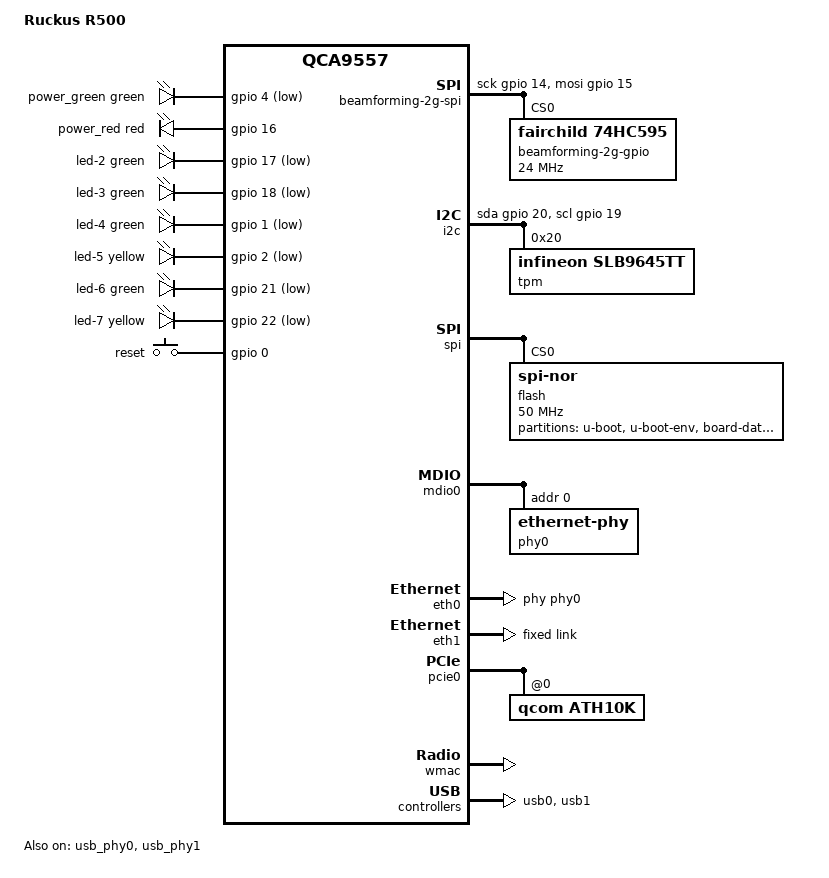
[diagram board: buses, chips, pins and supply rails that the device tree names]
// SPDX-License-Identifier: GPL-2.0-or-later OR MIT

#include "qca955x.dtsi"

#include <dt-bindings/gpio/gpio.h>
#include <dt-bindings/input/input.h>
#include <dt-bindings/leds/common.h>
#include <dt-bindings/mtd/partitions/uimage.h>

/ {
	compatible = "ruckus,r500", "qca,qca9557";
	model = "Ruckus R500";

	aliases {
		led-boot = &power_green;
		led-failsafe = &power_red;
		led-running = &power_green;
		led-upgrade = &power_red;
	};

	chosen {
		bootargs = "console=ttyS0,115200n8";
	};

	leds {
		compatible = "gpio-leds";

		pinctrl-names = "default";
		pinctrl-0 = <&jtag_disable_pins &clks_disable_pins &enable_gpio_4>;

		power_green: led-0 {
			function = LED_FUNCTION_POWER;
			color = <LED_COLOR_ID_GREEN>;
			gpios = <&gpio 4 GPIO_ACTIVE_LOW>;
			default-state = "on";
		};

		power_red: led-1 {
			function = LED_FUNCTION_POWER;
			color = <LED_COLOR_ID_RED>;
			gpios = <&gpio 16 GPIO_ACTIVE_HIGH>;
			default-state = "off";
			panic-indicator;
		};

		// DIR (Zone Director) LED - Indicates Zone director connection status
		led-2 {
			color = <LED_COLOR_ID_GREEN>;
			function = "dir";
			gpios = <&gpio 17 GPIO_ACTIVE_LOW>;
		};

		// AIR (Signal/Air Quality) LED - Indicates uplink status and the quality of the wireless signal to the uplink AP
		led-3 {
			color = <LED_COLOR_ID_GREEN>;
			function = "air";
			gpios = <&gpio 18 GPIO_ACTIVE_LOW>;
		};

		led-4 {
			color = <LED_COLOR_ID_GREEN>;
			function = LED_FUNCTION_WLAN_2GHZ;
			gpios = <&gpio 1 GPIO_ACTIVE_LOW>;
			linux,default-trigger = "phy1assoc";
		};

		led-5 {
			color = <LED_COLOR_ID_YELLOW>;
			function = LED_FUNCTION_WLAN_2GHZ;
			gpios = <&gpio 2 GPIO_ACTIVE_LOW>;
			linux,default-trigger = "phy1tpt";
		};

		led-6 {
			color = <LED_COLOR_ID_GREEN>;
			function = LED_FUNCTION_WLAN_5GHZ;
			gpios = <&gpio 21 GPIO_ACTIVE_LOW>;
			linux,default-trigger = "phy0assoc";
		};

		led-7 {
			color = <LED_COLOR_ID_YELLOW>;
			function = LED_FUNCTION_WLAN_5GHZ;
			gpios = <&gpio 22 GPIO_ACTIVE_LOW>;
			linux,default-trigger = "phy0tpt";
		};
	};

	keys {
		compatible = "gpio-keys";

		reset {
			label = "reset";
			gpios = <&gpio 0 GPIO_ACTIVE_HIGH>;
			linux,code = <KEY_RESTART>;
			debounce-interval = <60>;
		};

	};

	beamforming-2g-spi {
		compatible = "spi-gpio";
		mosi-gpios = <&gpio 15 GPIO_ACTIVE_HIGH>;
		sck-gpios = <&gpio 14 GPIO_ACTIVE_HIGH>;
		num-chipselects = <0>;
		#address-cells = <1>;
		#size-cells = <0>;

		beamforming-2g-gpio@0 {
			compatible = "fairchild,74hc595";
			reg = <0>;
			registers-number = <1>;
			spi-max-frequency = <24000000>;
			gpio-controller;
			#gpio-cells = <2>;
		};
	};

	beamforming-5g-spi {
		/*
		 * ath10k driver doesn't expose GPIOs as of now,
		 * so let's disable it for now. The shift register
		 * for antenna pattern control is correctly initialized
		 * for omnidirectional pattern correctly despite that,
		 * there is just no possibility to control that from OpenWrt yet.
		 */
		status = "disabled";
		compatible = "spi-gpio";
		mosi-gpios = <&ath10k 15 GPIO_ACTIVE_HIGH>;
		sck-gpios = <&ath10k 14 GPIO_ACTIVE_HIGH>;
		num-chipselects = <0>;
		#address-cells = <1>;
		#size-cells = <0>;

		beamforming-5g-gpio@0 {
			compatible = "fairchild,74hc595";
			reg = <0>;
			registers-number = <1>;
			spi-max-frequency = <24000000>;
			gpio-controller;
			#gpio-cells = <2>;
		};
	};

	i2c: i2c {
		compatible = "i2c-gpio";
		#address-cells = <1>;
		#size-cells = <0>;

		scl-gpios = <&gpio 19 (GPIO_ACTIVE_HIGH|GPIO_OPEN_DRAIN)>;
		sda-gpios = <&gpio 20 (GPIO_ACTIVE_HIGH|GPIO_OPEN_DRAIN)>;

		tpm@20 {
			compatible = "infineon,slb9645tt", "tcg,tpm-tis-i2c";
			reg = <0x20>;
			crc-checksum;
		};
	};

	reserved-memory {
		#address-cells = <1>;
		#size-cells = <1>;
		ranges;

		ruckus-himem@fff0000 {
			/* Ruckus Himem area used to control
			 * redundant boot image selection
			 */
			compatible = "nvmem-rmem";
			reg = <0xfff0000 0x10000>;
			no-map;
		};
	};
};

&pinmux {
	clks_disable_pins: pinmux_clks_disable_pins {
		pinctrl-single,bits = <0x40 0x0 0x80>;
	};

	enable_gpio_4: pinctrl_enable_gpio_4 {
		pinctrl-single,bits = <0x4 0x0 0xff>;
	};
};

&spi {
	status = "okay";

	flash@0 {
		compatible = "jedec,spi-nor";
		reg = <0>;
		spi-max-frequency = <50000000>;

		partitions {
			compatible = "fixed-partitions";
			#address-cells = <1>;
			#size-cells = <1>;

			partition@0 {
				reg = <0x0000000 0x100000>;
				label = "u-boot";
				read-only;
			};

			partition@100000 {
				compatible = "u-boot,env";
				reg = <0x0100000 0x40000>;
				label = "u-boot-env";
			};

			board_data: partition@140000 {
				reg = <0x0140000 0x80000>;
				label = "board-data";
				read-only;
			};

			partition@1c0000 {
				reg = <0x01c0000 0x3e40000>;
				compatible = "openwrt,uimage", "denx,uimage";
				label = "firmware";
			};
		};
	};
};

&mdio0 {
	status = "okay";

	phy0: ethernet-phy@0 {
		reg = <0>;

		qca,ar8327-initvals = <
		    0x04 0x00080080 /* PORT0 PAD MODE CTRL */
		    0x0c 0x07600000 /* PORT6 PAD MODE CTRL */
		    0x7c 0x0000007e /* PORT0_STATUS */
		    0x94 0x0000007e /* PORT6 STATUS */
		>;
	};
};

&eth0 {
	status = "okay";

	nvmem-cells = <&macaddr_board_data_66>;
	nvmem-cell-names = "mac-address";
	pll-data = <0x96000000 0x00000101 0x00001616>;

	phy-handle = <&phy0>;
};

&eth1 {
	status = "okay";

	nvmem-cells = <&macaddr_board_data_6c>;
	nvmem-cell-names = "mac-address";
	pll-data = <0x03000101 0x00000101 0x00001616>;

	fixed-link {
		speed = <1000>;
		full-duplex;
	};
};

&pcie0 {
	status = "okay";

	ath10k: wifi@0,0 {
		compatible = "qcom,ath10k";
		reg = <0x0000 0 0 0 0>;
		gpio-controller;
		#gpio-cells = <2>;

		nvmem-cells = <&macaddr_board_data_76>, <&cal_board_data_45000>;
		nvmem-cell-names = "mac-address", "calibration";
	};
};

&wmac {
	status = "okay";

	nvmem-cells = <&macaddr_board_data_60>, <&cal_board_data_41000>;
	nvmem-cell-names = "mac-address", "calibration";
};

&usb_phy0 {
	status = "okay";
};

&usb0 {
	status = "okay";
};

&usb_phy1 {
	status = "okay";
};

&usb1 {
	status = "okay";
};

&board_data {
	nvmem-layout {
		compatible = "fixed-layout";
		#address-cells = <1>;
		#size-cells = <1>;

		macaddr_board_data_60: macaddr@60 {
			reg = <0x60 0x6>;
		};

		macaddr_board_data_66: macaddr@66 {
			reg = <0x66 0x6>;
		};

		macaddr_board_data_6c: macaddr@6c {
			reg = <0x6c 0x6>;
		};

		macaddr_board_data_76: macaddr@76 {
			reg = <0x76 0x6>;
		};

		cal_board_data_41000: cal@41000 {
			reg = <0x41000 0x440>;
		};

		cal_board_data_45000: cal@45000 {
			reg = <0x45000 0x844>;
		};
	};
};
